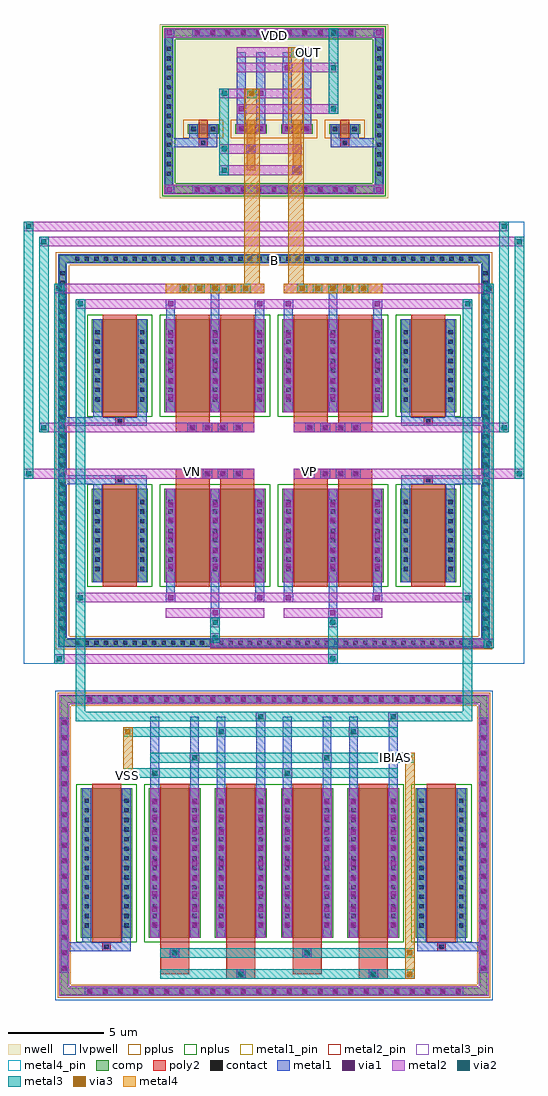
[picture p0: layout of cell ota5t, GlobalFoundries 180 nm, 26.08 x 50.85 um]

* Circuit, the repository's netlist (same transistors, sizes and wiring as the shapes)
* NGSPICE file created from ota5t.ext - technology: gf180mcuD

.subckt ota5t B VSS IBIAS VN VP VDD OUT
X0 IBIAS IBIAS VSS B nfet_03v3 ad=4.668p pd=16.76u as=4.668p ps=16.76u w=7.78u l=1.51u
X1 IBIAS IBIAS VSS B nfet_03v3 ad=4.668p pd=16.76u as=4.668p ps=16.76u w=7.78u l=1.51u
X2 VDD VDD VDD VDD pfet_03v3 ad=0.29p pd=2.16u as=1.76p ps=13.04u w=0.5u l=0.45u
X3 a_n1142_298# VP a_n670_2066# B nfet_03v3 ad=2.916p pd=10.92u as=1.3608p ps=5.42u w=4.86u l=1.76u
X4 B B B B nfet_03v3 ad=4.5124p pd=16.72u as=40.6p ps=0.15392m w=7.78u l=1.51u
X5 a_n1142_298# VN OUT B nfet_03v3 ad=2.916p pd=10.92u as=1.3608p ps=5.42u w=4.86u l=1.76u
X6 B B B B nfet_03v3 ad=2.8188p pd=10.88u as=0 ps=0 w=4.86u l=1.76u
X7 B B B B nfet_03v3 ad=2.8188p pd=10.88u as=0 ps=0 w=4.86u l=1.76u
X8 a_n670_2066# VP a_n1142_298# B nfet_03v3 ad=1.3608p pd=5.42u as=2.916p ps=10.92u w=4.86u l=1.76u
X9 B B B B nfet_03v3 ad=2.8188p pd=10.88u as=0 ps=0 w=4.86u l=1.76u
X10 a_n1142_298# IBIAS VSS B nfet_03v3 ad=4.668p pd=16.76u as=4.668p ps=16.76u w=7.78u l=1.51u
X11 B B B B nfet_03v3 ad=4.5124p pd=16.72u as=0 ps=0 w=7.78u l=1.51u
X12 OUT a_n670_2066# VDD VDD pfet_03v3 ad=0.3p pd=2.2u as=0.3p ps=2.2u w=0.5u l=0.45u
X13 a_n1142_298# IBIAS VSS B nfet_03v3 ad=4.668p pd=16.76u as=4.668p ps=16.76u w=7.78u l=1.51u
X14 a_n1142_298# VP a_n670_2066# B nfet_03v3 ad=2.916p pd=10.92u as=1.3608p ps=5.42u w=4.86u l=1.76u
X15 a_n670_2066# VP a_n1142_298# B nfet_03v3 ad=1.3608p pd=5.42u as=2.916p ps=10.92u w=4.86u l=1.76u
X16 OUT VN a_n1142_298# B nfet_03v3 ad=1.3608p pd=5.42u as=2.916p ps=10.92u w=4.86u l=1.76u
X17 a_n1142_298# VN OUT B nfet_03v3 ad=2.916p pd=10.92u as=1.3608p ps=5.42u w=4.86u l=1.76u
X18 a_n670_2066# a_n670_2066# VDD VDD pfet_03v3 ad=0.3p pd=2.2u as=0.3p ps=2.2u w=0.5u l=0.45u
X19 OUT VN a_n1142_298# B nfet_03v3 ad=1.3608p pd=5.42u as=2.916p ps=10.92u w=4.86u l=1.76u
X20 VDD VDD VDD VDD pfet_03v3 ad=0.29p pd=2.16u as=0 ps=0 w=0.5u l=0.45u
X21 B B B B nfet_03v3 ad=2.8188p pd=10.88u as=0 ps=0 w=4.86u l=1.76u
.ends

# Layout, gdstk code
import gdstk
lib = gdstk.Library(unit=1e-6, precision=5e-09)
def R(c, l, rs):  # rectangles x0, y0, x1, y1
    for r in rs: c.add(gdstk.rectangle(r[:2], r[2:], *l))
def A(c, l, x, y, w, h, nx, ny, dx, dy):  # array of equal rectangles
    R(c, l, [(x+i*dx, y+j*dy, x+i*dx+w, y+j*dy+h) for i in range(nx) for j in range(ny)])
def P(c, l, *ps):  # polygons
    for p in ps: c.add(gdstk.Polygon(p, *l))
nwell = (21, 0)
comp = (22, 0)
poly2 = (30, 0)
pplus = (31, 0)
nplus = (32, 0)
contact = (33, 0)
metal1 = (34, 0)
metal1_pin = (34, 10)
via1 = (35, 0)
metal2 = (36, 0)
metal2_pin = (36, 10)
via2 = (38, 0)
via3 = (40, 0)
metal3 = (42, 0)
metal3_pin = (42, 10)
metal4 = (46, 0)
metal4_pin = (46, 10)
lvpwell = (204, 0)

ota5t = lib.new_cell('ota5t')
R(ota5t, nwell, [(-5.94,21.48,5.94,30.57), (-5.78,21.64,5.78,30.41), (-4.84,22.58,4.84,29.47)])
A(ota5t, comp, -9.78, -20, 0.36, 0.36, 25, 2, 0.8, 15.2)
A(ota5t, comp, -11.11, -18.8, 0.36, 0.36, 1, 17, 0, 0.8)
A(ota5t, comp, 10.75, -18.8, 0.36, 0.36, 1, 17, 0, 0.8)
A(ota5t, comp, -6.53, -17.04, 2.71, 7.78, 4, 1, 3.45, 0)
A(ota5t, comp, -10.43, -1.84, 0.36, 0.36, 42, 2, 0.5, 20)
A(ota5t, comp, -11.2, -1.09, 0.36, 0.36, 1, 38, 0, 0.5)
A(ota5t, comp, 10.84, -1.09, 0.36, 0.36, 1, 38, 0, 0.5)
A(ota5t, comp, -4.18, 21.76, 0.36, 0.36, 11, 2, 0.8, 8.17)
A(ota5t, comp, -5.66, 22.595, 0.36, 0.36, 1, 14, 0, 0.5)
A(ota5t, comp, 5.3, 22.595, 0.36, 0.36, 1, 14, 0, 0.5)
R(ota5t, comp, [(-9.78,-20,9.78,-19.64), (-11.11,-18.8,-10.75,-5.64), (10.75,-18.8,11.11,-5.64), (-10.06,-17.04,-7.39,-9.26), (7.39,-17.04,10.06,-9.26), (-9.78,-4.8,9.78,-4.44), (-10.43,-1.84,10.43,-1.48), (-11.2,-1.09,-10.84,17.77), (10.84,-1.09,11.2,17.77), (-9.49,1.49,-6.57,6.35), (-5.71,1.49,-0.43,6.35), (0.43,1.49,5.71,6.35), (6.57,1.49,9.49,6.35), (-9.49,10.33,-6.57,15.19), (-5.71,10.33,-0.43,15.19), (0.43,10.33,5.71,15.19), (6.57,10.33,9.49,15.19), (-10.43,18.16,10.43,18.52), (-4.18,21.76,4.18,22.12), (-5.66,22.595,-5.3,29.455), (5.3,22.595,5.66,29.455), (-4.49,24.85,-2.88,25.35), (-2.02,24.85,-0.37,25.35), (0.37,24.85,2.02,25.35), (2.88,24.85,4.49,25.35), (-4.18,29.93,4.18,30.29)])
P(ota5t, comp, [(11.2,18.52),(-11.2,18.52),(-11.2,-1.48),(-10.84,-1.48),(-10.84,18.16),(10.84,18.16),(10.84,-1.48),(-10.84,-1.48),(-11.2,-1.48),(-11.2,-1.84),(11.2,-1.84)],
  [(11.11,-4.44),(-11.11,-4.44),(-11.11,-19.64),(-10.75,-19.64),(-10.75,-4.8),(10.75,-4.8),(10.75,-19.64),(-10.75,-19.64),(-11.11,-19.64),(-11.11,-20),(11.11,-20)],
  [(5.66,30.29),(-5.66,30.29),(-5.66,22.12),(-5.3,22.12),(-5.3,29.93),(5.3,29.93),(5.3,22.12),(-5.3,22.12),(-5.66,22.12),(-5.66,21.76),(5.66,21.76)])
A(ota5t, poly2, -5.93, -17.28, 1.51, 8.26, 4, 1, 3.45, 0)
A(ota5t, poly2, -4.45, 6.96, 0.36, 0.36, 4, 2, 0.8, 2.4)
A(ota5t, poly2, 1.69, 6.96, 0.36, 0.36, 4, 2, 0.8, 2.4)
R(ota5t, poly2, [(-2.48,-19.18,-0.97,-18.68), (4.42,-19.18,5.93,-18.68), (-1.905,-19.11,-1.545,-18.75), (4.995,-19.11,5.355,-18.75), (-5.93,-18.93,-4.42,-17.28), (0.97,-18.93,2.48,-17.28), (-2.48,-18.68,-0.97,-17.28), (4.42,-18.68,5.93,-17.28), (-5.93,-18.08,-4.42,-17.58), (0.97,-18.08,2.48,-17.58), (-5.355,-18.01,-4.995,-17.65), (1.545,-18.01,1.905,-17.65), (-8.955,-17.74,-8.495,-17.28), (8.495,-17.74,8.955,-17.28), (-8.905,-17.69,-8.545,-17.33), (8.545,-17.69,8.905,-17.33), (-5.93,-17.58,-4.42,-17.28), (0.97,-17.58,2.48,-17.28), (-9.48,-17.28,-7.97,-9.02), (7.97,-17.28,9.48,-9.02), (-8.91,1.25,-7.15,6.59), (-5.11,1.25,-3.35,6.59), (-2.79,1.25,-1.03,6.59), (1.03,1.25,2.79,6.59), (3.35,1.25,5.11,6.59), (7.15,1.25,8.91,6.59), (-8.26,6.59,-7.8,7.05), (-5.11,6.59,-3.35,6.89), (-2.79,6.59,-1.03,6.89), (1.03,6.59,2.79,6.89), (3.35,6.59,5.11,6.89), (7.8,6.59,8.26,7.05), (-8.21,6.64,-7.85,7), (7.85,6.64,8.21,7), (-5.11,6.89,-1.03,7.39), (1.03,6.89,5.11,7.39), (-5.11,9.29,-1.03,9.79), (1.03,9.29,5.11,9.79), (-8.26,9.63,-7.8,10.09), (7.8,9.63,8.26,10.09), (-8.21,9.68,-7.85,10.04), (7.85,9.68,8.21,10.04), (-5.11,9.79,-3.35,10.09), (-2.79,9.79,-1.03,10.09), (1.03,9.79,2.79,10.09), (3.35,9.79,5.11,10.09), (-8.91,10.09,-7.15,15.43), (-5.11,10.09,-3.35,15.43), (-2.79,10.09,-1.03,15.43), (1.03,10.09,2.79,15.43), (3.35,10.09,5.11,15.43), (7.15,10.09,8.91,15.43), (0.945,22.7,1.445,23.2), (1.015,22.77,1.375,23.13), (-1.42,22.95,-0.97,24.61), (0.97,23.2,1.42,24.61), (-1.445,23.81,-0.945,24.31), (-1.375,23.88,-1.015,24.24), (-3.915,24.15,-3.455,24.61), (3.455,24.15,3.915,24.61), (-3.865,24.2,-3.505,24.56), (3.505,24.2,3.865,24.56), (-1.42,24.31,-0.97,24.61), (-3.91,24.61,-3.46,25.59), (-1.42,24.61,-0.97,25.59), (0.97,24.61,1.42,25.59), (3.46,24.61,3.91,25.59)])
R(ota5t, pplus, [(-4.72,24.62,-2.65,25.58), (-2.25,24.62,-0.14,25.58), (-2.25,24.62,2.25,25.58), (0.14,24.62,2.25,25.58), (2.65,24.62,4.72,25.58)])
P(ota5t, pplus, [(11.36,18.68),(-11.36,18.68),(-11.36,-1.32),(-10.68,-1.32),(-10.68,18),(10.68,18),(10.68,-1.32),(-10.68,-1.32),(-11.36,-1.32),(-11.36,-2),(11.36,-2)],
  [(11.27,-4.28),(-11.27,-4.28),(-11.27,-19.48),(-10.59,-19.48),(-10.59,-4.96),(10.59,-4.96),(10.59,-19.48),(-10.59,-19.48),(-11.27,-19.48),(-11.27,-20.16),(11.27,-20.16)])
A(ota5t, nplus, -6.76, -17.27, 3.17, 8.24, 4, 1, 3.45, 0)
R(ota5t, nplus, [(-10.29,-17.27,-7.16,-9.03), (-6.76,-17.27,6.76,-9.03), (7.16,-17.27,10.29,-9.03), (-9.72,1.26,-6.34,6.58), (-5.94,1.26,-0.2,6.58), (0.2,1.26,5.94,6.58), (6.34,1.26,9.72,6.58), (-9.72,10.1,-6.34,15.42), (-5.94,10.1,-0.2,15.42), (0.2,10.1,5.94,15.42), (6.34,10.1,9.72,15.42)])
P(ota5t, nplus, [(5.82,30.45),(-5.82,30.45),(-5.82,22.28),(-5.14,22.28),(-5.14,29.77),(5.14,29.77),(5.14,22.28),(-5.14,22.28),(-5.82,22.28),(-5.82,21.6),(5.82,21.6)])
A(ota5t, contact, -9.71, -19.93, 0.22, 0.22, 25, 2, 0.8, 15.2)
A(ota5t, contact, -11.04, -18.73, 0.22, 0.22, 1, 17, 0, 0.8)
A(ota5t, contact, 10.82, -18.73, 0.22, 0.22, 1, 17, 0, 0.8)
A(ota5t, contact, -9.87, -16.51, 0.22, 0.22, 1, 14, 0, 0.5)
A(ota5t, contact, -7.8, -16.51, 0.22, 0.22, 1, 14, 0, 0.5)
A(ota5t, contact, -6.32, -16.51, 0.22, 0.22, 1, 14, 0, 0.5)
A(ota5t, contact, -4.25, -16.51, 0.22, 0.22, 1, 14, 0, 0.5)
A(ota5t, contact, -2.87, -16.51, 0.22, 0.22, 1, 14, 0, 0.5)
A(ota5t, contact, -0.8, -16.51, 0.22, 0.22, 1, 14, 0, 0.5)
A(ota5t, contact, 0.58, -16.51, 0.22, 0.22, 1, 14, 0, 0.5)
A(ota5t, contact, 2.65, -16.51, 0.22, 0.22, 1, 14, 0, 0.5)
A(ota5t, contact, 4.03, -16.51, 0.22, 0.22, 1, 14, 0, 0.5)
A(ota5t, contact, 6.1, -16.51, 0.22, 0.22, 1, 14, 0, 0.5)
A(ota5t, contact, 7.58, -16.51, 0.22, 0.22, 1, 14, 0, 0.5)
A(ota5t, contact, 9.65, -16.51, 0.22, 0.22, 1, 14, 0, 0.5)
A(ota5t, contact, -10.36, -1.77, 0.22, 0.22, 42, 2, 0.5, 20)
A(ota5t, contact, -11.13, -1.02, 0.22, 0.22, 1, 38, 0, 0.5)
A(ota5t, contact, 10.91, -1.02, 0.22, 0.22, 1, 38, 0, 0.5)
A(ota5t, contact, -9.3, 2.06, 0.22, 0.22, 1, 8, 0, 0.5)
A(ota5t, contact, -6.98, 2.06, 0.22, 0.22, 1, 8, 0, 0.5)
A(ota5t, contact, -5.5, 2.06, 0.22, 0.22, 3, 8, 2.32, 0.5)
A(ota5t, contact, 0.64, 2.06, 0.22, 0.22, 3, 8, 2.32, 0.5)
A(ota5t, contact, 6.76, 2.06, 0.22, 0.22, 1, 8, 0, 0.5)
A(ota5t, contact, 9.08, 2.06, 0.22, 0.22, 1, 8, 0, 0.5)
A(ota5t, contact, -4.38, 7.03, 0.22, 0.22, 4, 2, 0.8, 2.4)
A(ota5t, contact, 1.76, 7.03, 0.22, 0.22, 4, 2, 0.8, 2.4)
A(ota5t, contact, -9.3, 10.9, 0.22, 0.22, 1, 8, 0, 0.5)
A(ota5t, contact, -6.98, 10.9, 0.22, 0.22, 1, 8, 0, 0.5)
A(ota5t, contact, -5.5, 10.9, 0.22, 0.22, 3, 8, 2.32, 0.5)
A(ota5t, contact, 0.64, 10.9, 0.22, 0.22, 3, 8, 2.32, 0.5)
A(ota5t, contact, 6.76, 10.9, 0.22, 0.22, 1, 8, 0, 0.5)
A(ota5t, contact, 9.08, 10.9, 0.22, 0.22, 1, 8, 0, 0.5)
A(ota5t, contact, -4.11, 21.83, 0.22, 0.22, 11, 2, 0.8, 8.17)
A(ota5t, contact, -5.59, 22.665, 0.22, 0.22, 1, 14, 0, 0.5)
A(ota5t, contact, 5.37, 22.665, 0.22, 0.22, 1, 14, 0, 0.5)
R(ota5t, contact, [(-1.835,-19.04,-1.615,-18.82), (5.065,-19.04,5.285,-18.82), (-5.285,-17.94,-5.065,-17.72), (1.615,-17.94,1.835,-17.72), (-8.835,-17.62,-8.615,-17.4), (8.615,-17.62,8.835,-17.4), (-8.14,6.71,-7.92,6.93), (7.92,6.71,8.14,6.93), (-8.14,9.75,-7.92,9.97), (7.92,9.75,8.14,9.97), (1.085,22.84,1.305,23.06), (-1.305,23.95,-1.085,24.17), (-3.795,24.27,-3.575,24.49), (3.575,24.27,3.795,24.49), (-4.3,24.99,-4.08,25.21), (-3.29,24.99,-3.07,25.21), (-1.81,24.99,-1.59,25.21), (-0.8,24.99,-0.58,25.21), (0.58,24.99,0.8,25.21), (1.59,24.99,1.81,25.21), (3.07,24.99,3.29,25.21), (4.08,24.99,4.3,25.21)])
A(ota5t, metal1, -9.85, -20.07, 0.5, 0.5, 25, 2, 0.8, 15.2)
A(ota5t, metal1, -11.18, -18.87, 0.5, 0.5, 1, 17, 0, 0.8)
A(ota5t, metal1, 10.68, -18.87, 0.5, 0.5, 1, 17, 0, 0.8)
A(ota5t, metal1, -9.99, -16.63, 0.46, 0.46, 1, 14, 0, 0.5)
A(ota5t, metal1, -7.92, -16.63, 0.46, 0.46, 1, 14, 0, 0.5)
A(ota5t, metal1, -6.44, -16.63, 0.46, 0.46, 1, 14, 0, 0.5)
A(ota5t, metal1, -4.37, -16.63, 0.46, 0.46, 1, 14, 0, 0.5)
A(ota5t, metal1, -2.99, -16.63, 0.46, 0.46, 1, 14, 0, 0.5)
A(ota5t, metal1, -0.92, -16.63, 0.46, 0.46, 1, 14, 0, 0.5)
A(ota5t, metal1, 0.46, -16.63, 0.46, 0.46, 1, 14, 0, 0.5)
A(ota5t, metal1, 2.53, -16.63, 0.46, 0.46, 1, 14, 0, 0.5)
A(ota5t, metal1, 3.91, -16.63, 0.46, 0.46, 1, 14, 0, 0.5)
A(ota5t, metal1, 5.98, -16.63, 0.46, 0.46, 1, 14, 0, 0.5)
A(ota5t, metal1, 7.46, -16.63, 0.46, 0.46, 1, 14, 0, 0.5)
A(ota5t, metal1, 9.53, -16.63, 0.46, 0.46, 1, 14, 0, 0.5)
A(ota5t, metal1, -6.46, -16.6, 0.5, 0.5, 1, 9, 0, 0.8)
A(ota5t, metal1, -4.39, -16.6, 0.5, 0.5, 1, 9, 0, 0.8)
A(ota5t, metal1, -3.01, -16.6, 0.5, 0.5, 1, 9, 0, 0.8)
A(ota5t, metal1, -0.94, -16.6, 0.5, 0.5, 1, 9, 0, 0.8)
A(ota5t, metal1, 0.44, -16.6, 0.5, 0.5, 1, 9, 0, 0.8)
A(ota5t, metal1, 2.51, -16.6, 0.5, 0.5, 1, 9, 0, 0.8)
A(ota5t, metal1, 3.89, -16.6, 0.5, 0.5, 1, 9, 0, 0.8)
A(ota5t, metal1, 5.96, -16.6, 0.5, 0.5, 1, 9, 0, 0.8)
A(ota5t, metal1, -10.48, -1.89, 0.46, 0.46, 42, 2, 0.5, 20)
A(ota5t, metal1, -11.25, -1.14, 0.46, 0.46, 1, 38, 0, 0.5)
A(ota5t, metal1, 10.79, -1.14, 0.46, 0.46, 1, 38, 0, 0.5)
A(ota5t, metal1, -5.62, 1.49, 0.46, 4.86, 3, 2, 2.32, 8.84)
A(ota5t, metal1, 0.52, 1.49, 0.46, 4.86, 3, 2, 2.32, 8.84)
A(ota5t, metal1, -9.42, 1.94, 0.46, 0.46, 1, 8, 0, 0.5)
A(ota5t, metal1, -7.1, 1.94, 0.46, 0.46, 1, 8, 0, 0.5)
A(ota5t, metal1, -5.62, 1.94, 0.46, 0.46, 3, 8, 2.32, 0.5)
A(ota5t, metal1, 0.52, 1.94, 0.46, 0.46, 3, 8, 2.32, 0.5)
A(ota5t, metal1, 6.64, 1.94, 0.46, 0.46, 1, 8, 0, 0.5)
A(ota5t, metal1, 8.96, 1.94, 0.46, 0.46, 1, 8, 0, 0.5)
A(ota5t, metal1, -5.64, 2.07, 0.5, 0.5, 3, 5, 2.32, 0.8)
A(ota5t, metal1, -5.64, 2.07, 0.5, 3.7, 3, 2, 2.32, 8.84)
A(ota5t, metal1, 0.5, 2.07, 0.5, 0.5, 3, 5, 2.32, 0.8)
A(ota5t, metal1, 0.5, 2.07, 0.5, 3.7, 3, 2, 2.32, 8.84)
A(ota5t, metal1, -4.52, 6.89, 0.5, 0.5, 4, 2, 0.8, 2.4)
A(ota5t, metal1, 1.62, 6.89, 0.5, 0.5, 4, 2, 0.8, 2.4)
A(ota5t, metal1, -9.42, 10.78, 0.46, 0.46, 1, 8, 0, 0.5)
A(ota5t, metal1, -7.1, 10.78, 0.46, 0.46, 1, 8, 0, 0.5)
A(ota5t, metal1, -5.62, 10.78, 0.46, 0.46, 3, 8, 2.32, 0.5)
A(ota5t, metal1, 0.52, 10.78, 0.46, 0.46, 3, 8, 2.32, 0.5)
A(ota5t, metal1, 6.64, 10.78, 0.46, 0.46, 1, 8, 0, 0.5)
A(ota5t, metal1, 8.96, 10.78, 0.46, 0.46, 1, 8, 0, 0.5)
A(ota5t, metal1, -5.64, 10.91, 0.5, 0.5, 3, 5, 2.32, 0.8)
A(ota5t, metal1, 0.5, 10.91, 0.5, 0.5, 3, 5, 2.32, 0.8)
A(ota5t, metal1, -4.25, 21.69, 0.5, 0.5, 11, 2, 0.8, 8.17)
A(ota5t, metal1, -5.71, 22.545, 0.46, 0.46, 1, 14, 0, 0.5)
A(ota5t, metal1, 5.25, 22.545, 0.46, 0.46, 1, 14, 0, 0.5)
R(ota5t, metal1, [(-9.85,-20.07,9.85,-19.57), (-1.975,-19.18,-1.475,-18.68), (4.925,-19.18,5.425,-18.68), (-11.18,-18.87,-10.68,-5.57), (10.68,-18.87,11.18,-5.57), (-5.425,-18.08,-4.925,-17.58), (1.475,-18.08,1.975,-17.58), (-11.18,-17.74,-8.955,-17.28), (-9.99,-17.74,-9.53,-17.04), (-9.99,-17.74,-8.955,-17.28), (-8.955,-17.74,-8.495,-17.28), (-8.495,-17.74,-7.46,-17.28), (-7.92,-17.74,-7.46,-17.04), (7.46,-17.74,7.92,-17.04), (7.46,-17.74,8.495,-17.28), (8.495,-17.74,8.955,-17.28), (8.955,-17.74,9.99,-17.28), (8.955,-17.74,11.18,-17.28), (9.53,-17.74,9.99,-17.04), (-9.99,-17.04,-9.53,-9.26), (-7.92,-17.04,-7.46,-9.26), (-6.44,-17.04,-5.98,-9.26), (-4.37,-17.04,-3.91,-9.26), (-2.99,-17.04,-2.53,-9.26), (-0.92,-17.04,-0.46,-9.26), (0.46,-17.04,0.92,-9.26), (2.53,-17.04,2.99,-9.26), (3.91,-17.04,4.37,-9.26), (5.98,-17.04,6.44,-9.26), (7.46,-17.04,7.92,-9.26), (9.53,-17.04,9.99,-9.26), (-6.46,-16.6,-5.96,-9.7), (-4.39,-16.6,-3.89,-9.7), (-3.01,-16.6,-2.51,-9.7), (-0.94,-16.6,-0.44,-9.7), (0.44,-16.6,0.94,-9.7), (2.51,-16.6,3.01,-9.7), (3.89,-16.6,4.39,-9.7), (5.96,-16.6,6.46,-9.7), (-6.44,-9.26,-5.98,-8.21), (-6.44,-9.26,-5.98,-5.51), (-4.37,-9.26,-3.91,-7.41), (-4.37,-9.26,-3.91,-5.51), (-2.99,-9.26,-2.53,-6.06), (-2.99,-9.26,-2.53,-5.51), (-0.92,-9.26,-0.46,-5.26), (-0.92,-9.26,-0.46,-5.51), (0.46,-9.26,0.92,-8.21), (0.46,-9.26,0.92,-5.51), (2.53,-9.26,2.99,-7.41), (2.53,-9.26,2.99,-5.51), (3.91,-9.26,4.37,-6.06), (3.91,-9.26,4.37,-5.51), (5.98,-9.26,6.44,-5.26), (5.98,-9.26,6.44,-5.51), (-6.46,-8.71,-5.96,-8.21), (0.44,-8.71,0.94,-8.21), (-4.39,-7.91,-3.89,-7.41), (2.51,-7.91,3.01,-7.41), (-3.01,-6.56,-2.51,-6.06), (3.89,-6.56,4.39,-6.06), (-0.94,-5.76,-0.44,-5.26), (5.96,-5.76,6.46,-5.26), (-9.85,-4.87,9.85,-4.37), (-11.25,-1.89,-10.84,-1.43), (-11.25,-1.89,-10.79,-1.48), (-10.84,-1.89,10.84,-1.43), (10.79,-1.89,11.25,-1.48), (10.84,-1.89,11.25,-1.43), (-11.25,-1.48,-10.79,18.16), (10.79,-1.48,11.25,18.16), (-3.32,-0.36,-2.82,0.14), (-3.3,-0.36,-2.84,1.49), (2.82,-0.36,3.32,0.14), (2.84,-0.36,3.3,1.49), (-5.64,0.44,-5.14,0.94), (-5.62,0.44,-5.16,1.49), (-1,0.44,-0.5,0.94), (-0.98,0.44,-0.52,1.49), (0.5,0.44,1,0.94), (0.52,0.44,0.98,1.49), (5.14,0.44,5.64,0.94), (5.16,0.44,5.62,1.49), (-9.42,1.49,-8.96,6.35), (-7.1,1.49,-6.64,6.35), (6.64,1.49,7.1,6.35), (8.96,1.49,9.42,6.35), (-9.42,6.35,-8.96,7.05), (-7.1,6.35,-6.64,7.05), (6.64,6.35,7.1,7.05), (8.96,6.35,9.42,7.05), (-11.25,6.59,-8.26,7.05), (-9.42,6.59,-8.26,7.05), (-8.26,6.59,-7.8,7.05), (-7.8,6.59,-6.64,7.05), (6.64,6.59,7.8,7.05), (7.8,6.59,8.26,7.05), (7.8,6.59,11.25,7.05), (8.26,6.59,9.42,7.05), (-11.25,9.63,-8.26,10.09), (-9.42,9.63,-8.26,10.09), (-9.42,9.63,-8.96,10.33), (-8.26,9.63,-7.8,10.09), (-7.8,9.63,-6.64,10.09), (-7.1,9.63,-6.64,10.33), (6.64,9.63,7.8,10.09), (6.64,9.63,7.1,10.33), (7.8,9.63,8.26,10.09), (7.8,9.63,11.25,10.09), (8.26,9.63,9.42,10.09), (8.96,9.63,9.42,10.33), (-9.42,10.33,-8.96,15.19), (-7.1,10.33,-6.64,15.19), (6.64,10.33,7.1,15.19), (8.96,10.33,9.42,15.19), (-5.62,15.19,-5.16,16.24), (-3.3,15.19,-2.84,17.04), (-0.98,15.19,-0.52,16.24), (0.52,15.19,0.98,16.24), (2.84,15.19,3.3,17.04), (5.16,15.19,5.62,16.24), (-5.64,15.74,-5.14,16.24), (-1,15.74,-0.5,16.24), (0.5,15.74,1,16.24), (5.14,15.74,5.64,16.24), (-3.32,16.54,-2.82,17.04), (2.82,16.54,3.32,17.04), (-11.25,18.11,-10.84,18.57), (-10.84,18.11,10.84,18.57), (10.84,18.11,11.25,18.57), (-11.25,18.16,-10.79,18.57), (10.79,18.16,11.25,18.57), (-5.71,21.69,-5.21,22.19), (-5.71,21.69,-5.21,22.19), (-5.71,21.69,-5.25,22.12), (-4.25,21.69,4.25,22.19), (5.21,21.69,5.71,22.19), (5.21,21.69,5.71,22.19), (5.25,21.69,5.71,22.12), (-5.71,22.12,-5.25,29.93), (5.25,22.12,5.71,29.93), (0.945,22.7,1.445,23.2), (-1.445,23.81,-0.945,24.31), (-5.71,24.15,-3.915,24.61), (-4.42,24.15,-3.96,24.85), (-4.42,24.15,-3.915,24.61), (-3.915,24.15,-3.455,24.61), (-3.455,24.15,-2.95,24.61), (-3.41,24.15,-2.95,24.85), (2.95,24.15,3.41,24.85), (2.95,24.15,3.455,24.61), (3.455,24.15,3.915,24.61), (3.915,24.15,4.42,24.61), (3.915,24.15,5.71,24.61), (3.96,24.15,4.42,24.85), (-4.42,24.85,-3.96,25.35), (-3.41,24.85,-2.95,25.35), (-1.95,24.85,-1.45,25.35), (-1.95,24.85,-1.45,25.35), (-1.93,24.85,-1.47,25.35), (-0.94,24.85,-0.44,25.35), (-0.94,24.85,-0.44,25.35), (-0.92,24.85,-0.46,25.35), (0.44,24.85,0.94,25.35), (0.44,24.85,0.94,25.35), (0.46,24.85,0.92,25.35), (1.45,24.85,1.95,25.35), (1.45,24.85,1.95,25.35), (1.47,24.85,1.93,25.35), (2.95,24.85,3.41,25.35), (3.96,24.85,4.42,25.35), (-4.42,24.87,-3.96,25.33), (-3.41,24.87,-2.95,25.33), (-1.93,24.87,-1.47,25.33), (-0.92,24.87,-0.46,25.33), (0.46,24.87,0.92,25.33), (1.47,24.87,1.93,25.33), (2.95,24.87,3.41,25.33), (3.96,24.87,4.42,25.33), (-1.93,25.35,-1.47,26.4), (-1.93,25.35,-1.47,29.1), (-0.92,25.35,-0.46,27.2), (-0.92,25.35,-0.46,29.1), (0.46,25.35,0.92,28.55), (0.46,25.35,0.92,29.1), (1.47,25.35,1.93,29.35), (1.47,25.35,1.93,29.1), (-1.95,25.9,-1.45,26.4), (-0.94,26.7,-0.44,27.2), (0.44,28.05,0.94,28.55), (1.45,28.85,1.95,29.35), (-5.71,29.86,-5.21,30.36), (-5.71,29.86,-5.21,30.36), (-4.25,29.86,4.25,30.36), (5.21,29.86,5.71,30.36), (5.21,29.86,5.71,30.36), (-5.71,29.93,-5.25,30.36), (5.25,29.93,5.71,30.36)])
R(ota5t, metal1_pin, [(-0.135,18.11,0.135,18.38), (-0.135,18.11,0.135,18.38)])
A(ota5t, via1, -9.73, -19.95, 0.26, 0.26, 25, 2, 0.8, 15.2)
A(ota5t, via1, -11.06, -18.75, 0.26, 0.26, 1, 17, 0, 0.8)
A(ota5t, via1, 10.8, -18.75, 0.26, 0.26, 1, 17, 0, 0.8)
A(ota5t, via1, -6.34, -16.48, 0.26, 0.26, 1, 9, 0, 0.8)
A(ota5t, via1, -4.27, -16.48, 0.26, 0.26, 1, 9, 0, 0.8)
A(ota5t, via1, -2.89, -16.48, 0.26, 0.26, 1, 9, 0, 0.8)
A(ota5t, via1, -0.82, -16.48, 0.26, 0.26, 1, 9, 0, 0.8)
A(ota5t, via1, 0.56, -16.48, 0.26, 0.26, 1, 9, 0, 0.8)
A(ota5t, via1, 2.63, -16.48, 0.26, 0.26, 1, 9, 0, 0.8)
A(ota5t, via1, 4.01, -16.48, 0.26, 0.26, 1, 9, 0, 0.8)
A(ota5t, via1, 6.08, -16.48, 0.26, 0.26, 1, 9, 0, 0.8)
A(ota5t, via1, -5.52, 2.19, 0.26, 0.26, 3, 5, 2.32, 0.8)
A(ota5t, via1, 0.62, 2.19, 0.26, 0.26, 3, 5, 2.32, 0.8)
A(ota5t, via1, -4.4, 7.01, 0.26, 0.26, 4, 2, 0.8, 2.4)
A(ota5t, via1, 1.74, 7.01, 0.26, 0.26, 4, 2, 0.8, 2.4)
A(ota5t, via1, -5.52, 11.03, 0.26, 0.26, 3, 5, 2.32, 0.8)
A(ota5t, via1, 0.62, 11.03, 0.26, 0.26, 3, 5, 2.32, 0.8)
A(ota5t, via1, -4.13, 21.81, 0.26, 0.26, 11, 2, 0.8, 8.17)
R(ota5t, via1, [(-1.855,-19.06,-1.595,-18.8), (5.045,-19.06,5.305,-18.8), (-5.305,-17.96,-5.045,-17.7), (1.595,-17.96,1.855,-17.7), (-6.34,-8.59,-6.08,-8.33), (0.56,-8.59,0.82,-8.33), (-4.27,-7.79,-4.01,-7.53), (2.63,-7.79,2.89,-7.53), (-2.89,-6.44,-2.63,-6.18), (4.01,-6.44,4.27,-6.18), (-0.82,-5.64,-0.56,-5.38), (6.08,-5.64,6.34,-5.38), (-3.2,-0.24,-2.94,0.02), (2.94,-0.24,3.2,0.02), (-5.52,0.56,-5.26,0.82), (-0.88,0.56,-0.62,0.82), (0.62,0.56,0.88,0.82), (5.26,0.56,5.52,0.82), (-5.52,15.86,-5.26,16.12), (-0.88,15.86,-0.62,16.12), (0.62,15.86,0.88,16.12), (5.26,15.86,5.52,16.12), (-3.2,16.66,-2.94,16.92), (2.94,16.66,3.2,16.92), (-5.59,21.81,-5.33,22.07), (5.33,21.81,5.59,22.07), (1.065,22.82,1.325,23.08), (-1.325,23.93,-1.065,24.19), (-1.83,24.97,-1.57,25.23), (-0.82,24.97,-0.56,25.23), (0.56,24.97,0.82,25.23), (1.57,24.97,1.83,25.23), (-1.83,26.02,-1.57,26.28), (-0.82,26.82,-0.56,27.08), (0.56,28.17,0.82,28.43), (1.57,28.97,1.83,29.23), (-5.59,29.98,-5.33,30.24), (5.33,29.98,5.59,30.24)])
A(ota5t, metal2, -9.85, -20.07, 0.5, 0.5, 25, 2, 0.8, 15.2)
A(ota5t, metal2, -11.18, -18.87, 0.5, 0.5, 1, 17, 0, 0.8)
A(ota5t, metal2, 10.68, -18.87, 0.5, 0.5, 1, 17, 0, 0.8)
A(ota5t, metal2, -6.46, -16.6, 0.5, 0.5, 1, 9, 0, 0.8)
A(ota5t, metal2, -4.39, -16.6, 0.5, 0.5, 1, 9, 0, 0.8)
A(ota5t, metal2, -3.01, -16.6, 0.5, 0.5, 1, 9, 0, 0.8)
A(ota5t, metal2, -0.94, -16.6, 0.5, 0.5, 1, 9, 0, 0.8)
A(ota5t, metal2, 0.44, -16.6, 0.5, 0.5, 1, 9, 0, 0.8)
A(ota5t, metal2, 2.51, -16.6, 0.5, 0.5, 1, 9, 0, 0.8)
A(ota5t, metal2, 3.89, -16.6, 0.5, 0.5, 1, 9, 0, 0.8)
A(ota5t, metal2, 5.96, -16.6, 0.5, 0.5, 1, 9, 0, 0.8)
A(ota5t, metal2, -5.64, 1.49, 0.5, 4.86, 3, 2, 2.32, 8.84)
A(ota5t, metal2, 0.5, 1.49, 0.5, 4.86, 3, 2, 2.32, 8.84)
A(ota5t, metal2, -5.64, 2.07, 0.5, 0.5, 3, 5, 2.32, 0.8)
A(ota5t, metal2, 0.5, 2.07, 0.5, 0.5, 3, 5, 2.32, 0.8)
A(ota5t, metal2, -4.52, 6.89, 0.5, 0.5, 4, 2, 0.8, 2.4)
A(ota5t, metal2, 1.62, 6.89, 0.5, 0.5, 4, 2, 0.8, 2.4)
A(ota5t, metal2, -5.64, 10.91, 0.5, 0.5, 3, 5, 2.32, 0.8)
A(ota5t, metal2, 0.5, 10.91, 0.5, 0.5, 3, 5, 2.32, 0.8)
A(ota5t, metal2, -4.25, 21.69, 0.5, 0.5, 11, 1, 0.8, 0)
A(ota5t, metal2, -4.25, 29.86, 0.5, 0.5, 9, 1, 0.8, 0)
R(ota5t, metal2, [(-11.18,-20.07,-10.75,-19.57), (-11.18,-20.07,-10.68,-19.64), (-10.75,-20.07,10.75,-19.57), (10.68,-20.07,11.18,-19.64), (10.75,-20.07,11.18,-19.57), (-11.18,-19.64,-10.68,-4.8), (10.68,-19.64,11.18,-4.8), (-1.975,-19.18,-1.475,-18.68), (4.925,-19.18,5.425,-18.68), (-5.425,-18.08,-4.925,-17.58), (1.475,-18.08,1.975,-17.58), (-6.46,-17.04,-5.96,-9.26), (-4.39,-17.04,-3.89,-9.26), (-3.01,-17.04,-2.51,-9.26), (-0.94,-17.04,-0.44,-9.26), (0.44,-17.04,0.94,-9.26), (2.51,-17.04,3.01,-9.26), (3.89,-17.04,4.39,-9.26), (5.96,-17.04,6.46,-9.26), (-6.46,-8.71,-5.96,-8.21), (0.44,-8.71,0.94,-8.21), (-4.39,-7.91,-3.89,-7.41), (2.51,-7.91,3.01,-7.41), (-3.01,-6.56,-2.51,-6.06), (3.89,-6.56,4.39,-6.06), (-0.94,-5.76,-0.44,-5.26), (5.96,-5.76,6.46,-5.26), (-11.18,-4.87,-10.75,-4.37), (-10.75,-4.87,10.75,-4.37), (10.75,-4.87,11.18,-4.37), (-11.18,-4.8,-10.68,-4.37), (10.68,-4.8,11.18,-4.37), (-11.44,-2.76,-10.94,-2.26), (-11.44,-2.76,3.32,-2.26), (2.82,-2.76,3.32,-2.26), (-3.32,-1.96,11.44,-1.46), (10.94,-1.96,11.44,-1.46), (-3.32,-1.66,-2.82,-1.16), (-3.32,-0.86,-2.82,-0.36), (2.82,-0.86,3.32,-0.36), (-5.64,-0.36,-0.5,0.14), (-3.32,-0.36,-2.82,0.14), (0.5,-0.36,5.64,0.14), (2.82,-0.36,3.32,0.14), (-10.34,0.44,-9.84,0.94), (-10.34,0.44,-5.64,0.94), (-5.64,0.44,-5.14,0.94), (-5.64,0.44,-0.5,0.94), (-1,0.44,-0.5,0.94), (-0.5,0.44,0.5,0.94), (0.5,0.44,1,0.94), (0.5,0.44,5.64,0.94), (5.14,0.44,5.64,0.94), (5.64,0.44,10.34,0.94), (9.84,0.44,10.34,0.94), (-13.04,6.89,-12.54,7.39), (-13.04,6.89,-1.03,7.39), (-5.11,6.89,-1.03,7.39), (1.03,6.89,5.11,7.39), (1.03,6.89,13.04,7.39), (12.54,6.89,13.04,7.39), (-12.24,9.29,-11.74,9.79), (-12.24,9.29,-5.11,9.79), (-5.11,9.29,-1.03,9.79), (1.03,9.29,5.11,9.79), (5.11,9.29,12.24,9.79), (11.74,9.29,12.24,9.79), (-10.34,15.74,-9.84,16.24), (-10.34,15.74,-5.64,16.24), (-5.64,15.74,-5.14,16.24), (-5.64,15.74,-0.5,16.24), (-1,15.74,-0.5,16.24), (-0.5,15.74,0.5,16.24), (0.5,15.74,1,16.24), (0.5,15.74,5.64,16.24), (5.14,15.74,5.64,16.24), (5.64,15.74,10.34,16.24), (9.84,15.74,10.34,16.24), (-11.44,16.54,-10.94,17.04), (-11.44,16.54,-5.64,17.04), (-5.64,16.54,-0.5,17.04), (-3.32,16.54,-2.82,17.04), (0.5,16.54,5.64,17.04), (2.82,16.54,3.32,17.04), (5.64,16.54,11.44,17.04), (10.94,16.54,11.44,17.04), (-12.24,18.98,-11.74,19.48), (-12.24,18.98,-9.84,19.48), (-9.84,18.98,9.84,19.48), (9.84,18.98,13.04,19.48), (12.54,18.98,13.04,19.48), (-13.04,19.78,-12.54,20.28), (-13.04,19.78,-9.84,20.28), (-9.84,19.78,9.84,20.28), (9.84,19.78,12.24,20.28), (11.74,19.78,12.24,20.28), (-5.71,21.69,-5.21,22.19), (-5.71,21.69,-5.21,22.19), (-5.71,21.69,-5.3,22.19), (-5.3,21.69,5.3,22.19), (5.21,21.69,5.71,22.19), (5.21,21.69,5.71,22.19), (5.3,21.69,5.71,22.19), (-2.845,22.7,-2.345,23.2), (-2.845,22.7,-1.445,23.2), (-1.445,22.7,1.445,23.2), (0.945,22.7,1.445,23.2), (0.945,22.7,1.445,23.2), (-2.845,23.81,-2.345,24.31), (-2.845,23.81,-1.445,24.31), (-1.445,23.81,-0.945,24.31), (-1.445,23.81,-0.945,24.31), (-1.445,23.81,1.445,24.31), (-1.95,24.85,-1.45,25.35), (-1.95,24.85,-1.45,25.35), (-0.94,24.85,-0.44,25.35), (-0.94,24.85,-0.44,25.35), (0.44,24.85,0.94,25.35), (0.44,24.85,0.94,25.35), (1.45,24.85,1.95,25.35), (1.45,24.85,1.95,25.35), (-1.95,25.9,-1.45,26.4), (-1.95,25.9,-0.44,26.4), (-1.95,25.9,1.95,26.4), (1.95,25.9,3.35,26.4), (2.85,25.9,3.35,26.4), (-2.845,26.7,-2.345,27.2), (-2.845,26.7,-2.345,27.2), (-2.845,26.7,-1.95,27.2), (-1.95,26.7,-0.44,27.2), (-1.95,26.7,1.95,27.2), (-0.94,26.7,-0.44,27.2), (-1.95,28.05,1.95,28.55), (0.44,28.05,0.94,28.55), (0.44,28.05,1.95,28.55), (1.95,28.05,3.35,28.55), (2.85,28.05,3.35,28.55), (-1.95,28.85,1.95,29.35), (0.44,28.85,1.95,29.35), (1.45,28.85,1.95,29.35), (-5.71,29.86,-5.21,30.36), (-5.71,29.86,-5.21,30.36), (-5.71,29.86,-5.3,30.36), (-5.3,29.86,5.3,30.36), (2.85,29.86,3.35,30.36), (2.95,29.86,3.45,30.36), (3.75,29.86,4.25,30.36), (5.21,29.86,5.71,30.36), (5.21,29.86,5.71,30.36), (5.3,29.86,5.71,30.36)])
R(ota5t, metal2_pin, [(-4.405,7.12,-4.135,7.39), (-4.405,7.12,-4.135,7.39), (1.735,7.12,2.005,7.39), (1.735,7.12,2.005,7.39), (-3.205,16.77,-2.935,17.04), (2.935,16.77,3.205,17.04), (1.68,28.965,1.95,29.235), (-0.135,29.86,0.135,30.13)])
A(ota5t, via2, -4.8, 16.66, 0.26, 0.26, 5, 1, 0.8, 0)
A(ota5t, via2, 1.34, 16.66, 0.26, 0.26, 5, 1, 0.8, 0)
R(ota5t, via2, [(-1.855,-19.06,-1.595,-18.8), (5.045,-19.06,5.305,-18.8), (-5.305,-17.96,-5.045,-17.7), (1.595,-17.96,1.855,-17.7), (-6.34,-8.59,-6.08,-8.33), (0.56,-8.59,0.82,-8.33), (-4.27,-7.79,-4.01,-7.53), (2.63,-7.79,2.89,-7.53), (-2.89,-6.44,-2.63,-6.18), (4.01,-6.44,4.27,-6.18), (-0.82,-5.64,-0.56,-5.38), (6.08,-5.64,6.34,-5.38), (-11.32,-2.64,-11.06,-2.38), (2.94,-2.64,3.2,-2.38), (11.06,-1.84,11.32,-1.58), (-3.2,-1.54,-2.94,-1.28), (-3.2,-0.74,-2.94,-0.48), (2.94,-0.74,3.2,-0.48), (-10.22,0.56,-9.96,0.82), (9.96,0.56,10.22,0.82), (-12.92,7.01,-12.66,7.27), (12.66,7.01,12.92,7.27), (-12.12,9.41,-11.86,9.67), (11.86,9.41,12.12,9.67), (-10.22,15.86,-9.96,16.12), (9.96,15.86,10.22,16.12), (-11.32,16.66,-11.06,16.92), (11.06,16.66,11.32,16.92), (-12.12,19.1,-11.86,19.36), (12.66,19.1,12.92,19.36), (-12.92,19.9,-12.66,20.16), (11.86,19.9,12.12,20.16), (-2.725,22.82,-2.465,23.08), (-2.725,23.93,-2.465,24.19), (2.97,26.02,3.23,26.28), (-2.725,26.82,-2.465,27.08), (-1.28,26.82,-1.02,27.08), (2.97,28.17,3.23,28.43), (1.02,28.97,1.28,29.23), (2.97,29.98,3.23,30.24)])
A(ota5t, via3, -4.8, 16.66, 0.26, 0.26, 5, 1, 0.8, 0)
A(ota5t, via3, 1.34, 16.66, 0.26, 0.26, 5, 1, 0.8, 0)
R(ota5t, via3, [(6.95,-19.06,7.21,-18.8), (6.95,-17.96,7.21,-17.7), (-7.74,-8.59,-7.48,-8.33), (6.95,-7.79,7.21,-7.53), (-7.74,-6.44,-7.48,-6.18), (-1.28,26.82,-1.02,27.08), (1.02,28.97,1.28,29.23)])
A(ota5t, metal3, -4.92, 16.54, 0.5, 0.5, 5, 1, 0.8, 0)
A(ota5t, metal3, 1.22, 16.54, 0.5, 0.5, 5, 1, 0.8, 0)
R(ota5t, metal3, [(-5.93,-19.18,5.93,-18.68), (-2.48,-19.18,-0.97,-18.68), (-1.975,-19.18,-1.475,-18.68), (4.42,-19.18,5.93,-18.68), (4.925,-19.18,5.425,-18.68), (5.93,-19.18,7.33,-18.68), (6.83,-19.18,7.33,-18.68), (-5.93,-18.08,-4.42,-17.58), (-5.93,-18.08,5.93,-17.58), (-5.425,-18.08,-4.925,-17.58), (0.97,-18.08,2.48,-17.58), (1.475,-18.08,1.975,-17.58), (5.93,-18.08,7.33,-17.58), (6.83,-18.08,7.33,-17.58), (-7.86,-8.71,-7.36,-8.21), (-7.86,-8.71,-6.46,-8.21), (-6.46,-8.71,-5.96,-8.21), (-6.46,-8.71,-3.89,-8.21), (-6.46,-8.71,6.46,-8.21), (0.44,-8.71,0.94,-8.21), (0.44,-8.71,3.01,-8.21), (-6.46,-7.91,-3.89,-7.41), (-6.46,-7.91,6.46,-7.41), (-4.39,-7.91,-3.89,-7.41), (0.44,-7.91,3.01,-7.41), (2.51,-7.91,3.01,-7.41), (6.46,-7.91,7.33,-7.41), (6.83,-7.91,7.33,-7.41), (6.83,-7.91,7.33,-7.41), (-7.86,-6.56,-7.36,-6.06), (-7.86,-6.56,-6.46,-6.06), (-6.46,-6.56,6.46,-6.06), (-3.01,-6.56,-2.51,-6.06), (-3.01,-6.56,-0.44,-6.06), (3.89,-6.56,4.39,-6.06), (3.89,-6.56,6.46,-6.06), (-10.34,-5.76,-6.46,-5.26), (-10.34,-5.76,-9.84,0.44), (-6.46,-5.76,6.46,-5.26), (-3.01,-5.76,-0.44,-5.26), (-0.94,-5.76,-0.44,-5.26), (3.89,-5.76,6.46,-5.26), (5.96,-5.76,6.46,-5.26), (6.46,-5.76,10.34,-5.26), (9.84,-5.76,10.34,0.44), (-11.44,-2.76,-10.94,-2.26), (-11.44,-2.76,-10.94,-2.26), (-11.44,-2.76,-10.94,17.04), (2.82,-2.76,3.32,-2.26), (2.82,-2.26,3.32,-0.86), (10.94,-1.96,11.44,-1.46), (10.94,-1.96,11.44,-1.46), (10.94,-1.96,11.44,17.04), (-3.32,-1.66,-2.82,-1.16), (-3.32,-1.16,-2.82,-0.86), (-3.32,-0.86,-2.82,-0.36), (2.82,-0.86,3.32,-0.36), (-10.34,0.44,-9.84,0.94), (-10.34,0.44,-9.84,0.94), (-10.34,0.44,-9.84,16.24), (9.84,0.44,10.34,0.94), (9.84,0.44,10.34,0.94), (9.84,0.44,10.34,16.24), (-13.04,6.89,-12.54,7.39), (-13.04,6.89,-12.54,7.39), (-13.04,6.89,-12.54,20.28), (12.54,6.89,13.04,7.39), (12.54,6.89,13.04,7.39), (12.54,6.89,13.04,19.48), (-12.24,9.29,-11.74,9.79), (-12.24,9.29,-11.74,9.79), (-12.24,9.29,-11.74,19.48), (11.74,9.29,12.24,9.79), (11.74,9.29,12.24,9.79), (11.74,9.29,12.24,20.28), (-10.34,15.74,-9.84,16.24), (-10.34,15.74,-9.84,16.24), (9.84,15.74,10.34,16.24), (9.84,15.74,10.34,16.24), (-11.44,16.54,-10.94,17.04), (-11.44,16.54,-10.94,17.04), (10.94,16.54,11.44,17.04), (10.94,16.54,11.44,17.04), (-12.24,18.98,-11.74,19.48), (-12.24,18.98,-11.74,19.48), (12.54,18.98,13.04,19.48), (12.54,18.98,13.04,19.48), (-13.04,19.78,-12.54,20.28), (-13.04,19.78,-12.54,20.28), (11.74,19.78,12.24,20.28), (11.74,19.78,12.24,20.28), (-2.845,22.7,-2.345,23.2), (-2.845,22.7,-2.345,23.2), (-2.845,22.7,-2.345,24.31), (-2.845,23.81,-2.345,24.31), (-2.845,23.81,-2.345,24.31), (-2.845,24.31,-2.345,27.2), (2.85,25.9,3.35,26.4), (2.85,25.9,3.35,26.4), (2.85,25.9,3.35,28.55), (-2.845,26.7,-2.345,27.2), (-2.845,26.7,-2.345,27.2), (-1.4,26.7,-0.9,27.2), (2.85,28.05,3.35,28.55), (2.85,28.05,3.35,28.55), (2.85,28.55,3.35,29.86), (0.9,28.85,1.4,29.35), (2.85,29.86,3.35,30.36)])
P(ota5t, metal3, [(13.04,6.89),(13.04,6.89),(13.04,7.39),(13.04,7.39)],
  [(13.04,18.98),(13.04,18.98),(13.04,19.48),(13.04,19.48)],
  [(-12.54,6.89),(-12.54,6.89),(-12.54,7.39),(-12.54,7.39)],
  [(-12.54,19.78),(-12.54,19.78),(-12.54,20.28),(-12.54,20.28)],
  [(12.24,9.29),(12.24,9.29),(12.24,9.79),(12.24,9.79)],
  [(12.24,19.78),(12.24,19.78),(12.24,20.28),(12.24,20.28)],
  [(-11.74,9.29),(-11.74,9.29),(-11.74,9.79),(-11.74,9.79)],
  [(-11.74,18.98),(-11.74,18.98),(-11.74,19.48),(-11.74,19.48)],
  [(-10.94,-2.76),(-10.94,-2.76),(-10.94,-2.26),(-10.94,-2.26)],
  [(-10.94,16.54),(-10.94,16.54),(-10.94,17.04),(-10.94,17.04)],
  [(11.44,-1.96),(11.44,-1.96),(11.44,-1.46),(11.44,-1.46)],
  [(11.44,16.54),(11.44,16.54),(11.44,17.04),(11.44,17.04)],
  [(-9.84,0.44),(-9.84,0.44),(-9.84,0.94),(-9.84,0.94)],
  [(-9.84,15.74),(-9.84,15.74),(-9.84,16.24),(-9.84,16.24)],
  [(10.34,0.44),(10.34,0.44),(10.34,0.94),(10.34,0.94)],
  [(10.34,15.74),(10.34,15.74),(10.34,16.24),(10.34,16.24)],
  [(3.35,25.9),(3.35,25.9),(3.35,26.4),(3.35,26.4)],
  [(3.35,28.05),(3.35,28.05),(3.35,28.55),(3.35,28.55)],
  [(-2.345,22.7),(-2.345,22.7),(-2.345,23.2),(-2.345,23.2)],
  [(-2.345,23.81),(-2.345,23.81),(-2.345,24.31),(-2.345,24.31)])
R(ota5t, metal3_pin, [(6.19,-7.795,6.46,-7.525), (6.19,-7.795,6.46,-7.525)])
A(ota5t, metal4, -4.92, 16.54, 0.5, 0.5, 5, 1, 0.8, 0)
A(ota5t, metal4, 1.22, 16.54, 0.5, 0.5, 5, 1, 0.8, 0)
R(ota5t, metal4, [(6.83,-19.18,7.33,-18.68), (6.83,-19.18,7.33,-18.68), (6.83,-19.18,7.33,-17.58), (6.83,-18.08,7.33,-17.58), (6.83,-18.08,7.33,-17.58), (6.83,-17.58,7.33,-7.41), (-7.86,-8.71,-7.36,-8.21), (-7.86,-8.71,-7.36,-8.21), (-7.86,-8.71,-7.36,-6.06), (6.83,-7.91,7.33,-7.41), (6.83,-7.91,7.33,-7.41), (-7.86,-6.56,-7.36,-6.06), (-7.86,-6.56,-7.36,-6.06), (-5.64,16.54,-0.5,17.04), (-5.44,16.54,-0.7,17.04), (0.5,16.54,5.64,17.04), (0.7,16.54,5.44,17.04), (-1.55,16.79,-0.75,26.95), (0.75,16.79,1.55,29.1), (-1.55,26.7,-0.75,27.2), (-1.4,26.7,-0.9,27.2), (0.75,28.85,1.55,29.35), (0.9,28.85,1.4,29.35)])
P(ota5t, metal4, [(7.33,-19.18),(7.33,-19.18),(7.33,-18.68),(7.33,-18.68)],
  [(7.33,-18.08),(7.33,-18.08),(7.33,-17.58),(7.33,-17.58)],
  [(-7.36,-8.71),(-7.36,-8.71),(-7.36,-8.21),(-7.36,-8.21)],
  [(-7.36,-6.56),(-7.36,-6.56),(-7.36,-6.06),(-7.36,-6.06)])
R(ota5t, metal4_pin, [(-7.745,-8.71,-7.475,-8.44), (-7.745,-8.71,-7.475,-8.44)])
R(ota5t, lvpwell, [(-11.39,-20.28,11.39,-4.16), (-13.04,-2.76,13.04,20.28), (-9.84,-0.48,-0.08,7.51), (0.08,-0.48,9.84,7.51), (-9.84,9.17,-0.08,17.16), (0.08,9.17,9.84,17.16)])
ota5t.add(gdstk.Label('B', (0,18.245), layer=34, texttype=10))
ota5t.add(gdstk.Label('VSS', (-7.61,-8.575), layer=46, texttype=10))
ota5t.add(gdstk.Label('IBIAS', (6.325,-7.66), layer=42, texttype=10))
ota5t.add(gdstk.Label('VN', (-4.27,7.255), layer=36, texttype=10))
ota5t.add(gdstk.Label('VP', (1.87,7.255), layer=36, texttype=10))
ota5t.add(gdstk.Label('VDD', (0,29.995), layer=36, texttype=10))
ota5t.add(gdstk.Label('B', (0,18.245), layer=34, texttype=10))
ota5t.add(gdstk.Label('VSS', (-7.61,-8.575), layer=46, texttype=10))
ota5t.add(gdstk.Label('IBIAS', (6.325,-7.66), layer=42, texttype=10))
ota5t.add(gdstk.Label('OUT', (1.815,29.1), layer=36, texttype=10))
ota5t.add(gdstk.Label('VN', (-4.27,7.255), layer=36, texttype=10))
ota5t.add(gdstk.Label('VP', (1.87,7.255), layer=36, texttype=10))

lib.write_gds('ota5t.gds')
